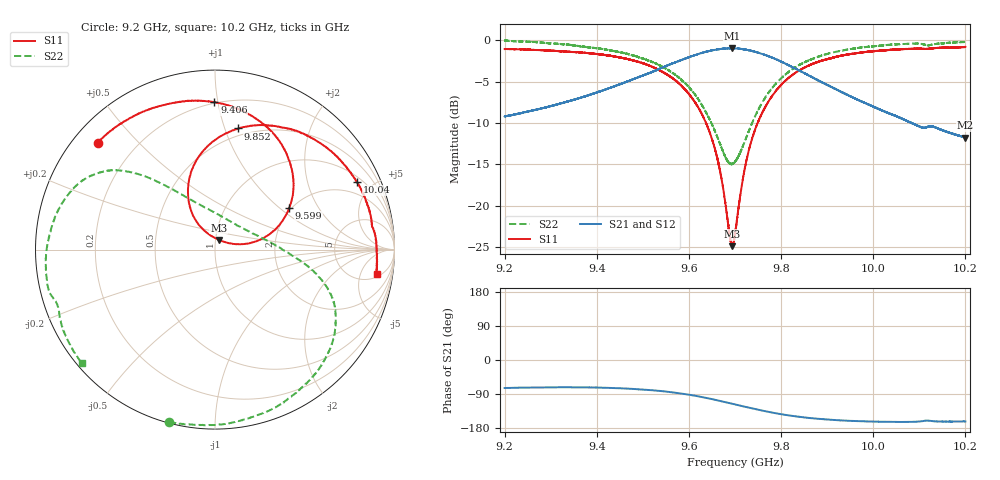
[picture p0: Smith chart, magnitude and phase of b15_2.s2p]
!Agilent Technologies,N5242A,MY51221714,A.09.90.19
!Agilent N5242A: A.09.90.19
!Date: Tuesday, March 26, 2024 16:52:56
!Correction: S11(Full 2 Port(1,2))
!S21(Full 2 Port(1,2))
!S12(Full 2 Port(1,2))
!S22(Full 2 Port(1,2))
!S2P File: Measurements: S11, S21, S12, S22:
# Hz S  dB  R 50
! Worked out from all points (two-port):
!   16001 points, 9.2 GHz to 10.2 GHz, reference 50 ohm
!   highest |S21| = -0.97 dB at 9.693 GHz (marker M1); lowest = -11.7 dB at 10.2 GHz (marker M2)
!   |S21| within 3 dB of the highest: 9.513492 GHz to 9.513512 GHz (19.59 kHz wide, 0.000206 % of centre); 9.514 GHz to 9.851 GHz (336.6 MHz wide, 3.48 % of centre)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
!   lowest |S11| = -24.9 dB at 9.695 GHz (marker M3), VSWR 1.12, Z = 51.8 + j5.55 ohm
!   |S11| at or under -10 dB: 9.637 GHz to 9.749 GHz (111.9 MHz wide, 1.15 % of centre)
!   |S22| runs from -15.0 to 0.0 dB; largest |S21 - S12| = 0.012
!   S11 on the Smith chart (normalised r, x): 9.2 GHz: 0.07, +0.38; 9.406 GHz: 0.19, +0.98; 9.599 GHz: 1.94, +1.17; 9.852 GHz: 0.43, +1.11; 10.04 GHz: 1.25, +4.06; 10.2 GHz: 6, -9
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9.2e9  -1.07 137.7  -9.20 -74.0  -9.18 -74.7  -0.05 -104.9
9.277375e9  -1.20 120.9  -8.26 -72.4  -8.25 -73.0  -0.29 -83.8
9.366688e9  -1.49 100.3  -6.92 -72.2  -6.90 -72.9  -0.76 -60.7
9.40625e9  -1.71 90.2  -6.19 -73.0  -6.18 -73.7  -1.02 -50.9
9.472125e9  -2.37 72.2  -4.86 -75.9  -4.87 -76.5  -1.73 -35.8
9.533375e9  -3.57 52.9  -3.53 -81.2  -3.51 -81.8  -2.93 -22.9
9.59925e9  -6.46 29.5  -2.08 -91.5  -2.06 -92.1  -5.60 -10.0
9.653688e9  -12.61 11.7  -1.19 -104.1  -1.19 -104.7  -10.62 9.6
9.69325e9  -24.72 63.2  -0.97 -115.2  -0.97 -115.7  -14.90 61.9
9.694562e9  -24.85 69.2  -0.99 -115.6  -0.97 -116.1  -14.93 64.5
9.7e9  -23.46 94.5  -0.99 -117.1  -0.98 -117.7  -14.65 74.5
9.723688e9  -14.81 123.4  -1.14 -124.0  -1.12 -124.6  -11.89 106.9
9.750875e9  -9.74 117.4  -1.52 -131.4  -1.51 -132.1  -8.36 123.1
9.794312e9  -5.76 100.9  -2.44 -141.7  -2.45 -142.4  -4.91 133.8
9.852062e9  -3.26 79.2  -4.02 -151.8  -4.02 -152.3  -2.64 143.3
9.866688e9  -2.91 74.2  -4.45 -153.7  -4.45 -154.1  -2.29 145.8
9.934938e9  -1.83 53.0  -6.37 -159.7  -6.36 -160.3  -1.23 158.3
1.003338e10  -1.19 27.4  -8.81 -163.1  -8.81 -163.7  -0.57 179.4
1.004156e10  -1.14 25.5  -8.98 -163.1  -8.99 -163.8  -0.53 -178.8
1.009912e10  -1.02 12.2  -10.39 -162.4  -10.39 -162.9  -0.42 -165.9
1.019988e10  -0.84 -8.6  -11.75 -162.1  -11.74 -162.6  -0.23 -139.5
1.02e10  -0.82 -8.7  -11.73 -162.1  -11.74 -162.7  -0.23 -139.4
